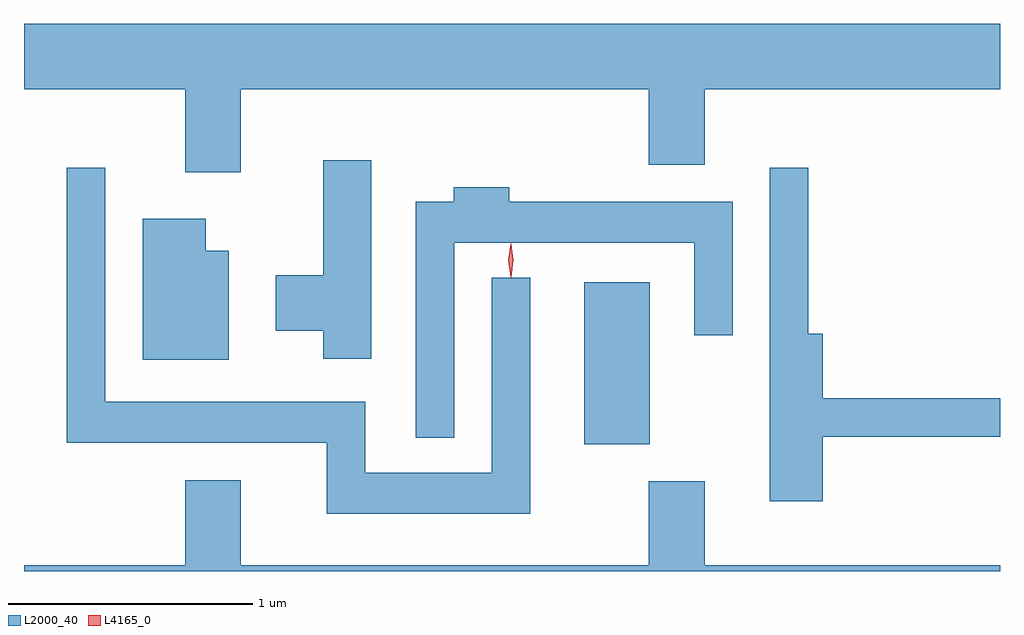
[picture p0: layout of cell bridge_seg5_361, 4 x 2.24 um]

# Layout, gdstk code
import gdstk
lib = gdstk.Library(unit=1e-6, precision=1e-09)
def R(c, l, rs):  # rectangles x0, y0, x1, y1
    for r in rs: c.add(gdstk.rectangle(r[:2], r[2:], *l))
def P(c, l, *ps):  # polygons
    for p in ps: c.add(gdstk.Polygon(p, *l))
L2000_40 = (2000, 40)
L4165_0 = (4165, 0)

bridge_seg5_361 = lib.new_cell('bridge_seg5_361')
R(bridge_seg5_361, L2000_40, [(400.626,1488.641,400.894,1489.304)])
P(bridge_seg5_361, L2000_40, [(399.219,1490.096),(400.891,1490.096),(400.891,1489.786),(401.119,1489.786),(401.119,1490.096),(402.33,1490.096),(402.33,1490.364),(398.33,1490.364),(398.33,1490.096),(398.991,1490.096),(398.991,1489.756),(399.219,1489.756)],
  [(399.754,1489.804),(399.556,1489.804),(399.556,1489.334),(399.361,1489.334),(399.361,1489.106),(399.556,1489.106),(399.556,1488.991),(399.754,1488.991)],
  [(401.604,1488.671),(402.33,1488.671),(402.33,1488.829),(401.604,1488.829),(401.604,1489.094),(401.544,1489.094),(401.544,1489.773),(401.386,1489.773),(401.386,1488.406),(401.604,1488.406)],
  [(400.404,1489.323),(400.246,1489.323),(400.246,1488.524),(399.729,1488.524),(399.729,1488.814),(398.664,1488.814),(398.664,1489.773),(398.506,1489.773),(398.506,1488.646),(399.571,1488.646),(399.571,1488.356),(400.404,1488.356)],
  [(400.094,1489.466),(401.076,1489.466),(401.076,1489.088),(401.234,1489.088),(401.234,1489.634),(400.319,1489.634),(400.319,1489.694),(400.091,1489.694),(400.091,1489.634),(399.936,1489.634),(399.936,1488.668),(400.094,1488.668)],
  [(399.169,1489.434),(399.074,1489.434),(399.074,1489.564),(398.816,1489.564),(398.816,1488.986),(399.169,1488.986)],
  [(402.33,1488.144),(401.119,1488.144),(401.119,1488.489),(400.891,1488.489),(400.891,1488.144),(399.219,1488.144),(399.219,1488.494),(398.991,1488.494),(398.991,1488.144),(398.33,1488.144),(398.33,1488.12),(402.33,1488.12)])
P(bridge_seg5_361, L4165_0, [(400.324,1489.324),(400.315,1489.394),(400.324,1489.463),(400.325,1489.463),(400.326,1489.463),(400.335,1489.394),(400.326,1489.324),(400.325,1489.324)],
  [(400.325,1489.327),(400.324,1489.328),(400.314,1489.394),(400.324,1489.46),(400.324,1489.46),(400.325,1489.46),(400.334,1489.394),(400.325,1489.328)])

lib.write_gds('bridge_seg5_361.gds')
